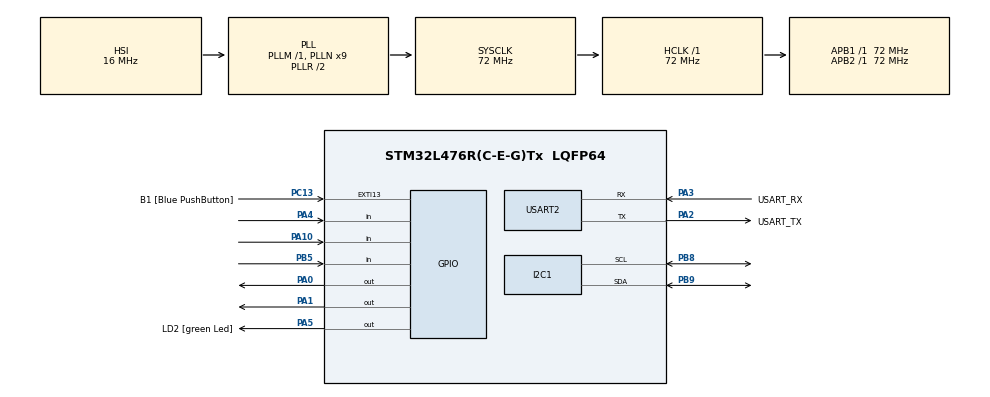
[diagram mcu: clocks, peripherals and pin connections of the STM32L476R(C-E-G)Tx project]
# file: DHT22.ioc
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I2C1.Timing=0x10808DD3
Mcu.Family=STM32L4
Mcu.Name=STM32L476R(C-E-G)Tx
Mcu.Package=LQFP64
NVIC.PriorityGroup=NVIC_PRIORITYGROUP_4
PA0.Signal=GPIO_Output
PA1.Signal=GPIO_Output
PA10.GPIO_PuPd=GPIO_PULLUP
PA10.Signal=GPIO_Input
PA13\ (JTMS-SWDIO).GPIO_Label=TMS
PA13\ (JTMS-SWDIO).Mode=Serial_Wire
PA13\ (JTMS-SWDIO).Signal=SYS_JTMS-SWDIO
PA14\ (JTCK-SWCLK).GPIO_Label=TCK
PA14\ (JTCK-SWCLK).Mode=Serial_Wire
PA14\ (JTCK-SWCLK).Signal=SYS_JTCK-SWCLK
PA2.GPIO_Label=USART_TX
PA2.GPIO_Mode=GPIO_MODE_AF_PP
PA2.GPIO_PuPd=GPIO_NOPULL
PA2.GPIO_Speed=GPIO_SPEED_FREQ_VERY_HIGH
PA2.Mode=Asynchronous
PA2.Signal=USART2_TX
PA3.GPIO_Label=USART_RX
PA3.GPIO_Mode=GPIO_MODE_AF_PP
PA3.GPIO_PuPd=GPIO_NOPULL
PA3.GPIO_Speed=GPIO_SPEED_FREQ_VERY_HIGH
PA3.Mode=Asynchronous
PA3.Signal=USART2_RX
PA4.Signal=GPIO_Input
PA5.GPIO_Label=LD2 [green Led]
PA5.GPIO_ModeDefaultOutputPP=GPIO_MODE_OUTPUT_PP
PA5.GPIO_PuPd=GPIO_NOPULL
PA5.GPIO_Speed=GPIO_SPEED_FREQ_LOW
PA5.Signal=GPIO_Output
PB3\ (JTDO-TRACESWO).GPIO_Label=SWO
PB3\ (JTDO-TRACESWO).Signal=SYS_JTDO-SWO
PB5.GPIO_PuPd=GPIO_PULLUP
PB5.Signal=GPIO_Input
PB8.Mode=I2C
PB8.Signal=I2C1_SCL
PB9.Mode=I2C
PB9.Signal=I2C1_SDA
PC13.GPIO_Label=B1 [Blue PushButton]
PC13.GPIO_ModeDefaultEXTI=GPIO_MODE_IT_FALLING
PC13.GPIO_PuPd=GPIO_NOPULL
PC13.Signal=GPXTI13
PC14-OSC32_IN\ (PC14).Mode=LSE-External-Oscillator
PC14-OSC32_IN\ (PC14).Signal=RCC_OSC32_IN
PC15-OSC32_OUT\ (PC15).Mode=LSE-External-Oscillator
PC15-OSC32_OUT\ (PC15).Signal=RCC_OSC32_OUT
PH0-OSC_IN\ (PH0).Signal=RCC_OSC_IN
PH1-OSC_OUT\ (PH1).Signal=RCC_OSC_OUT
ProjectManager.HeapSize=0x200
ProjectManager.StackSize=0x400
ProjectManager.TargetToolchain=STM32CubeIDE
RCC.ADCFreq_Value=64000000
RCC.AHBFreq_Value=72000000
RCC.APB1Freq_Value=72000000
RCC.APB1TimFreq_Value=72000000
RCC.APB2Freq_Value=72000000
RCC.APB2TimFreq_Value=72000000
RCC.CortexFreq_Value=72000000
RCC.HCLKFreq_Value=72000000
RCC.HSE_VALUE=8000000
RCC.HSI_VALUE=16000000
RCC.MSI_VALUE=4000000
RCC.PLLN=9
RCC.PLLSourceVirtual=RCC_PLLSOURCE_HSI
RCC.PREFETCH_ENABLE=1
RCC.SYSCLKFreq_VALUE=72000000
RCC.SYSCLKSource=RCC_SYSCLKSOURCE_PLLCLK
RCC.USBFreq_Value=64000000
RCC.VCOOutputFreq_Value=144000000
TIM1.Prescaler=72-1
USART2.VirtualMode-Asynchronous=VM_ASYNC
VP_TIM1_VS_ClockSourceINT.Mode=Internal
board=NUCLEO-L476RG

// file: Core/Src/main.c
/* USER CODE BEGIN Header */
/**
  ******************************************************************************
  * @file           : main.c
  * @brief          : Main program body
  ******************************************************************************
  * @attention
  *
  * Copyright (c) 2024 STMicroelectronics.
  * All rights reserved.
  *
  * This software is licensed under terms that can be found in the LICENSE file
  * in the root directory of this software component.
  * If no LICENSE file comes with this software, it is provided AS-IS.
  *
  ******************************************************************************
  */
/* USER CODE END Header */
#include "main.h"
#include "i2c.h"
#include "tim.h"
#include "usart.h"
#include "gpio.h"

/* USER CODE BEGIN Includes */
#include "lib_lcd.h"
#include <stdio.h>
/* USER CODE END Includes */

/* USER CODE BEGIN PTD */
rgb_lcd lcd_display;
/* USER CODE END PTD */

void SystemClock_Config(void);

/* USER CODE BEGIN 0 */
void Set_Pin_Output (GPIO_TypeDef *GPIOx, uint16_t GPIO_Pin)
{
	GPIO_InitTypeDef GPIO_InitStruct = {0};
	GPIO_InitStruct.Pin = GPIO_Pin;
	GPIO_InitStruct.Mode = GPIO_MODE_OUTPUT_PP;
	GPIO_InitStruct.Speed = GPIO_SPEED_FREQ_LOW;
	HAL_GPIO_Init(GPIOx, &GPIO_InitStruct);
}

void Set_Pin_Input (GPIO_TypeDef *GPIOx, uint16_t GPIO_Pin)
{
	GPIO_InitTypeDef GPIO_InitStruct = {0};
	GPIO_InitStruct.Pin = GPIO_Pin;
	GPIO_InitStruct.Mode = GPIO_MODE_INPUT;
	GPIO_InitStruct.Pull = GPIO_PULLUP;
	HAL_GPIO_Init(GPIOx, &GPIO_InitStruct);
}
void delay (uint16_t temps)
{
	__HAL_TIM_SET_COUNTER(&htim1,0);  // Initialiser le compteur par 0
	while (__HAL_TIM_GET_COUNTER(&htim1) < temps);  // Attendre jusqu'a ce que le timer atteint la valeur determiner en entrée
}

void Demarrer_DHT22 (void)
{
	Set_Pin_Output(GPIOA,GPIO_PIN_10); // Mettre le pin en sortie
	HAL_GPIO_WritePin (GPIOA, GPIO_PIN_10, 0);   // Mettre le pin en état bas
	HAL_Delay(1);   // wait for > 1ms

	HAL_GPIO_WritePin (GPIOA, GPIO_PIN_10, 1);   // Mettre le pin en état haut
	delay (35);   // wait for 30us

	Set_Pin_Input(GPIOA, GPIO_PIN_10);   // Mettre le pin en entrée
}

uint8_t Verifier_Reponse_DHT22 (void)
{
	Set_Pin_Input(GPIOA, GPIO_PIN_10);  // Mettre le pin en entrée
	uint8_t Reponse = 0;
	delay (30);  // wait for 40us
	if (!(HAL_GPIO_ReadPin (GPIOA, GPIO_PIN_10))) // Si le pin est à 0
	{
		delay (80);   // wait for 80us

		if ((HAL_GPIO_ReadPin (GPIOA, GPIO_PIN_10))) Reponse = 1;  // Si le pin est à 1, la réponse est 1
		else Reponse = -1; // Sinon la réponse est NOK
	}

	while ((HAL_GPIO_ReadPin (GPIOA, GPIO_PIN_10)));   // Attendre jusqu'a ce que le pin passe à 0
	return Reponse;
}

uint8_t Valeur_DHT22 (void)
{
	uint8_t valeur,j;
	for (j=0;j<8;j++)
	{
		while (!(HAL_GPIO_ReadPin (GPIOA, GPIO_PIN_10)));   // Attendre jusqu'a ce que le pin soit 1 pour commencer la lecture
		delay (40);   // Attendre 40 µs

		if (!(HAL_GPIO_ReadPin (GPIOA, GPIO_PIN_10)))   // Si le pin est 0V
		{
			valeur &= ~(1<<(7-j));   // Remplir l'octet par 0
		}
		else valeur |= (1<<(7-j));  // Si le pin est à 1, Remplir l'octet par 1
		while ((HAL_GPIO_ReadPin (GPIOA, GPIO_PIN_10)));  // Attendre jusqu'a ce que le pin soit 1
	}

	return valeur;
}
uint8_t Rh_byte1, Rh_byte2, Temp_byte1, Temp_byte2;
uint16_t SUM, RH, TEMP;

float Temperature = 0;
float Humidity = 0;
uint8_t Etat = 0;
char temperature[20],humidity[20];
char RH_octet1[20],RH_octet2[20];
char TEMP_octet1[20],TEMP_octet2[20];
/* USER CODE END 0 */

int main(void)
{
  /* USER CODE BEGIN 1 */
	RCC->AHB2ENR = (1 << 0);
  /* USER CODE END 1 */

  /* MCU Configuration--------------------------------------------------------*/

  /* Reset of all peripherals, Initializes the Flash interface and the Systick. */
  HAL_Init();

  /* Configure the system clock */
  SystemClock_Config();

  /* Initialize all configured peripherals */
  MX_GPIO_Init();
  MX_USART2_UART_Init();
  MX_TIM1_Init();
  MX_I2C1_Init();
  /* USER CODE BEGIN 2 */
  HAL_TIM_Base_Start(&htim1);
  lcd_init(&hi2c1,&lcd_display);
  /* USER CODE END 2 */

  /* Infinite loop */
  while (1)
  {

    /* USER CODE BEGIN 3 */
	  Demarrer_DHT22();
	  Etat = Verifier_Reponse_DHT22();
	  Rh_byte1 = Valeur_DHT22 ();
      Rh_byte2 = Valeur_DHT22 ();
	  Temp_byte1 = Valeur_DHT22 ();
	  Temp_byte2 = Valeur_DHT22 ();
	  SUM = Valeur_DHT22();

	  TEMP = ((Temp_byte1<<8)|Temp_byte2);
	  RH = ((Rh_byte1<<8)|Rh_byte2);

	 //Temperature = (float) (TEMP/10.0);
	  //Humidity = (float)(RH/10.0);
	  //lcd_position(&hi2c1,0, 0);
	  //snprintf(temperature, sizeof(temperature), "%d", TEMP);
	  //snprintf(humidity, sizeof(humidity), "%d", RH);
	  snprintf(RH_octet1, sizeof(RH_octet1), "Hum_byte_1 = %u \n", Rh_byte1);
	  snprintf(RH_octet2, sizeof(RH_octet2), "Hum_byte_2 = %u \n", Rh_byte2);
	  snprintf(TEMP_octet1, sizeof(TEMP_octet1), "Temp_byte_1 = %u \n", Temp_byte1);
	  snprintf(TEMP_octet2, sizeof(TEMP_octet2), "Temp_byte_2 = %u \n", Temp_byte2);
	  /*lcd_position(&hi2c1, 0, 0);
	  lcd_print(&hi2c1, "Temp = ");
	  lcd_print(&hi2c1, temperature);
	  lcd_print(&hi2c1, " C");
	  lcd_position(&hi2c1, 0, 1);
	  lcd_print(&hi2c1, "Hum = ");
	  lcd_print(&hi2c1, humidity);
	  lcd_print(&hi2c1, " %");*/

	  HAL_UART_Transmit(&huart2, (uint8_t*)RH_octet1, sizeof(RH_octet1), 1000);
	  HAL_UART_Transmit(&huart2, (uint8_t*)RH_octet2, sizeof(RH_octet2), 1000);
	  HAL_UART_Transmit(&huart2, (uint8_t*)TEMP_octet1, sizeof(TEMP_octet1), 1000);
	  HAL_UART_Transmit(&huart2, (uint8_t*)TEMP_octet2, sizeof(TEMP_octet2), 1000);
	  HAL_Delay(1000);

  }
  /* USER CODE END 3 */
}

void SystemClock_Config(void)
{
  RCC_OscInitTypeDef RCC_OscInitStruct = {0};
  RCC_ClkInitTypeDef RCC_ClkInitStruct = {0};

  /** Configure the main internal regulator output voltage
  */
  if (HAL_PWREx_ControlVoltageScaling(PWR_REGULATOR_VOLTAGE_SCALE1) != HAL_OK)
  {
    Error_Handler();
  }

  /** Initializes the RCC Oscillators according to the specified parameters
  * in the RCC_OscInitTypeDef structure.
  */
  RCC_OscInitStruct.OscillatorType = RCC_OSCILLATORTYPE_HSI;
  RCC_OscInitStruct.HSIState = RCC_HSI_ON;
  RCC_OscInitStruct.HSICalibrationValue = RCC_HSICALIBRATION_DEFAULT;
  RCC_OscInitStruct.PLL.PLLState = RCC_PLL_ON;
  RCC_OscInitStruct.PLL.PLLSource = RCC_PLLSOURCE_HSI;
  RCC_OscInitStruct.PLL.PLLM = 1;
  RCC_OscInitStruct.PLL.PLLN = 9;
  RCC_OscInitStruct.PLL.PLLP = RCC_PLLP_DIV7;
  RCC_OscInitStruct.PLL.PLLQ = RCC_PLLQ_DIV2;
  RCC_OscInitStruct.PLL.PLLR = RCC_PLLR_DIV2;
  if (HAL_RCC_OscConfig(&RCC_OscInitStruct) != HAL_OK)
  {
    Error_Handler();
  }

  /** Initializes the CPU, AHB and APB buses clocks
  */
  RCC_ClkInitStruct.ClockType = RCC_CLOCKTYPE_HCLK|RCC_CLOCKTYPE_SYSCLK
                              |RCC_CLOCKTYPE_PCLK1|RCC_CLOCKTYPE_PCLK2;
  RCC_ClkInitStruct.SYSCLKSource = RCC_SYSCLKSOURCE_PLLCLK;
  RCC_ClkInitStruct.AHBCLKDivider = RCC_SYSCLK_DIV1;
  RCC_ClkInitStruct.APB1CLKDivider = RCC_HCLK_DIV1;
  RCC_ClkInitStruct.APB2CLKDivider = RCC_HCLK_DIV1;

  if (HAL_RCC_ClockConfig(&RCC_ClkInitStruct, FLASH_LATENCY_4) != HAL_OK)
  {
    Error_Handler();
  }
}

void Error_Handler(void)
{
  __disable_irq();
  while (1)
  {
  }
}
